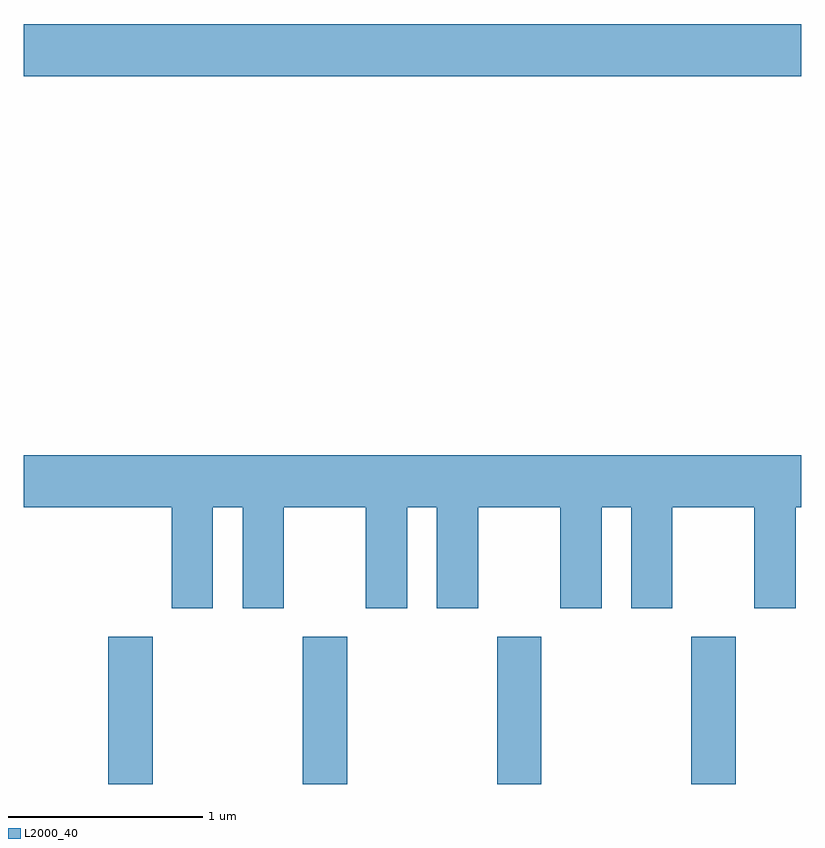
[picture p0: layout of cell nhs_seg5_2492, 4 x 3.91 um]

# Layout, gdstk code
import gdstk
lib = gdstk.Library(unit=1e-6, precision=1e-09)
def R(c, l, rs):  # rectangles x0, y0, x1, y1
    for r in rs: c.add(gdstk.rectangle(r[:2], r[2:], *l))
def A(c, l, x, y, w, h, nx, ny, dx, dy):  # array of equal rectangles
    R(c, l, [(x+i*dx, y+j*dy, x+i*dx+w, y+j*dy+h) for i in range(nx) for j in range(ny)])
def P(c, l, *ps):  # polygons
    for p in ps: c.add(gdstk.Polygon(p, *l))
L2000_40 = (2000, 40)

nhs_seg5_2492 = lib.new_cell('nhs_seg5_2492')
A(nhs_seg5_2492, L2000_40, 260.046, 1422.072, 0.228, 0.757, 4, 1, 1, 0)
R(nhs_seg5_2492, L2000_40, [(259.611,1425.716,263.611,1425.984)])
P(nhs_seg5_2492, L2000_40, [(259.611,1423.496),(260.371,1423.496),(260.371,1422.976),(260.584,1422.976),(260.584,1423.496),(260.736,1423.496),(260.736,1422.976),(260.949,1422.976),(260.949,1423.496),(261.371,1423.496),(261.371,1422.976),(261.584,1422.976),(261.584,1423.496),(261.736,1423.496),(261.736,1422.976),(261.949,1422.976),(261.949,1423.496),(262.371,1423.496),(262.371,1422.976),(262.584,1422.976),(262.584,1423.496),(262.736,1423.496),(262.736,1422.976),(262.949,1422.976),(262.949,1423.496),(263.371,1423.496),(263.371,1422.976),(263.584,1422.976),(263.584,1423.496),(263.611,1423.496),(263.611,1423.764),(259.611,1423.764)])

lib.write_gds('nhs_seg5_2492.gds')
